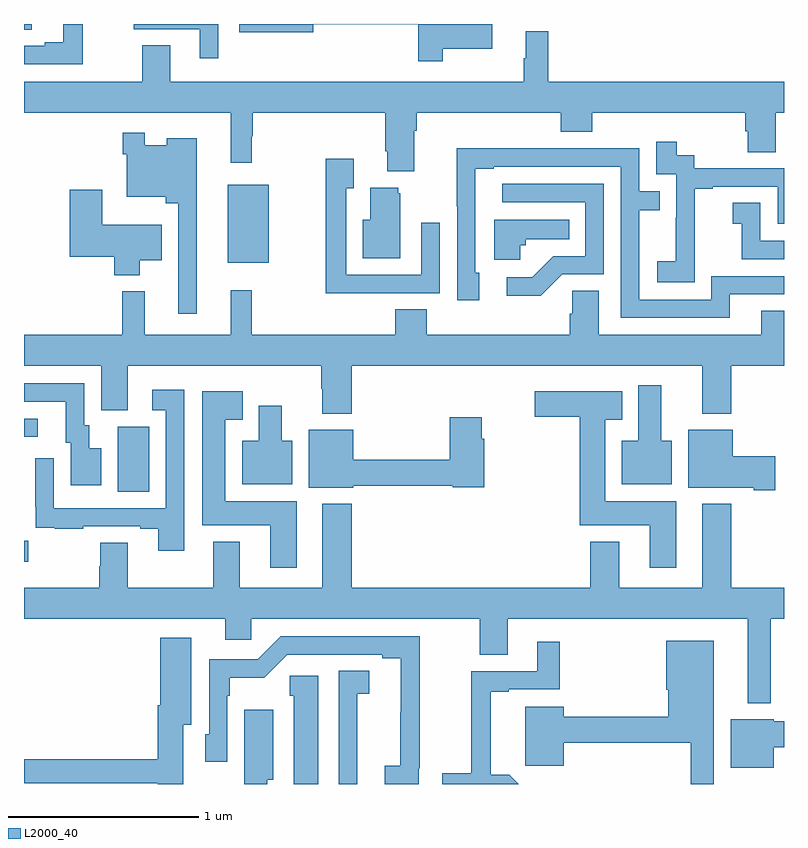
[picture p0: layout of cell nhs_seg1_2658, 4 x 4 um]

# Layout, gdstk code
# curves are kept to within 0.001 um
import gdstk
lib = gdstk.Library(unit=1e-6, precision=1e-09)
def R(c, l, rs):  # rectangles x0, y0, x1, y1
    for r in rs: c.add(gdstk.rectangle(r[:2], r[2:], *l))
def P(c, l, *ps):  # polygons
    for p in ps: c.add(gdstk.Polygon(p, *l))
L2000_40 = (2000, 40)

nhs_seg1_2658 = lib.new_cell('nhs_seg1_2658')
R(nhs_seg1_2658, L2000_40, [(255,549.368,255.022,549.478), (255.494,549.736,255.658,550.08), (255,550.026,255.073,550.122), (256.073,550.943,256.288,551.353), (255,552.169,255.04,552.199)])
P(nhs_seg1_2658, L2000_40, [(257.203,552.068),(257.464,552.068),(257.464,552.199),(256.134,552.199),(256.134,552.155),(256.522,552.155),(256.522,552.198),(257.074,552.198),(257.074,552.003),(257.203,552.003)],
  [(256.023,552.199),(255.577,552.199),(255.577,552.171),(255.926,552.171),(255.926,552.018),(256.023,552.018)],
  [(255.308,552.199),(255.206,552.199),(255.206,552.104),(255.11,552.104),(255.11,552.084),(255,552.084),(255,551.988),(255.308,551.988)],
  [(257.053,551.636),(257.066,551.636),(257.066,551.732),(257.825,551.732),(257.825,551.633),(257.99,551.633),(257.99,551.732),(258.797,551.732),(258.797,551.634),(258.809,551.634),(258.809,551.524),(258.957,551.524),(258.957,551.732),(259,551.732),(259,551.896),(257.759,551.896),(257.759,552.16),(257.642,552.16),(257.642,552.02),(257.631,552.02),(257.631,551.896),(255.769,551.896),(255.769,552.086),(255.622,552.086),(255.622,551.896),(255,551.896),(255,551.732),(256.088,551.732),(256.088,551.469),(256.198,551.469),(256.198,551.609),(256.205,551.609),(256.205,551.732),(256.901,551.732),(256.901,551.53),(256.913,551.53),(256.913,551.423),(257.053,551.423)],
  [(255.91,551.599),(255.752,551.599),(255.752,551.56),(255.636,551.56),(255.636,551.626),(255.52,551.626),(255.52,551.513),(255.54,551.513),(255.54,551.291),(255.745,551.291),(255.745,551.255),(255.813,551.255),(255.813,550.674),(255.91,550.674)],
  [(258.531,551.047),(258.529,551.047),(258.529,551.331),(258.625,551.331),(258.625,551.343),(258.966,551.343),(258.966,551.148),(259,551.148),(259,551.439),(258.528,551.439),(258.528,551.508),(258.436,551.508),(258.436,551.578),(258.327,551.578),(258.327,551.409),(258.432,551.409),(258.432,551.18),(258.431,551.18),(258.431,550.951),(258.333,550.951),(258.333,550.841),(258.531,550.841)],
  [(258.715,550.776),(259,550.776),(259,550.872),(258.618,550.872),(258.618,550.749),(258.237,550.749),(258.237,551.218),(258.347,551.218),(258.347,551.319),(258.237,551.319),(258.237,551.544),(257.741,551.544),(257.741,551.546),(257.278,551.546),(257.278,551.239),(257.28,551.239),(257.28,550.746),(257.395,550.746),(257.395,550.89),(257.376,550.89),(257.376,551.436),(257.473,551.436),(257.473,551.448),(258.141,551.448),(258.141,550.653),(258.715,550.653)],
  [(256.871,550.782),(257.187,550.782),(257.187,551.152),(257.091,551.152),(257.091,550.878),(256.695,550.878),(256.695,551.335),(256.735,551.335),(256.735,551.491),(256.587,551.491),(256.587,550.781),(256.871,550.781)],
  [(257.832,550.881),(258.051,550.881),(258.051,551.358),(257.517,551.358),(257.517,551.262),(257.955,551.262),(257.955,550.977),(257.786,550.977),(257.675,550.866),(257.541,550.866),(257.541,550.769),(257.719,550.769)],
  [(256.981,551.307),(256.97,551.307),(256.97,551.338),(256.823,551.338),(256.823,551.17),(256.784,551.17),(256.784,550.967),(256.981,550.967)],
  [(255.61,550.955),(255.724,550.955),(255.724,551.143),(255.412,551.143),(255.412,551.326),(255.242,551.326),(255.242,550.973),(255.476,550.973),(255.476,550.877),(255.61,550.877)],
  [(259,551.058),(258.876,551.058),(258.876,551.257),(258.729,551.257),(258.729,551.147),(258.778,551.147),(258.778,550.962),(259,550.962)],
  [(257.613,551.034),(257.64,551.034),(257.64,551.066),(257.87,551.066),(257.87,551.17),(257.474,551.17),(257.474,550.958),(257.613,550.958)],
  [(258.025,550.796),(257.886,550.796),(257.886,550.673),(257.873,550.673),(257.873,550.564),(257.12,550.564),(257.12,550.697),(256.955,550.697),(256.955,550.564),(256.198,550.564),(256.198,550.798),(256.088,550.798),(256.088,550.564),(255.635,550.564),(255.635,550.792),(255.517,550.792),(255.517,550.564),(255,550.564),(255,550.4),(255.407,550.4),(255.407,550.165),(255.547,550.165),(255.547,550.4),(256.564,550.4),(256.564,550.28),(256.571,550.28),(256.571,550.148),(256.724,550.148),(256.724,550.4),(258.569,550.4),(258.569,550.148),(258.722,550.148),(258.722,550.4),(259,550.4),(259,550.691),(258.881,550.691),(258.881,550.564),(258.025,550.564)],
  [(255.406,549.967),(255.343,549.967),(255.343,550.086),(255.318,550.086),(255.318,550.308),(255,550.308),(255,550.212),(255.221,550.212),(255.221,549.996),(255.245,549.996),(255.245,549.771),(255.406,549.771)],
  [(258.409,550.006),(258.355,550.006),(258.355,550.297),(258.233,550.297),(258.233,550.006),(258.146,550.006),(258.146,549.776),(258.409,549.776)],
  [(255.843,550.273),(255.675,550.273),(255.675,550.167),(255.747,550.167),(255.747,549.651),(255.156,549.651),(255.156,549.913),(255.06,549.913),(255.06,549.658),(255.061,549.658),(255.061,549.549),(255.163,549.549),(255.163,549.543),(255.311,549.543),(255.311,549.555),(255.611,549.555),(255.611,549.543),(255.707,549.543),(255.707,549.426),(255.843,549.426)],
  [(256.435,549.688),(256.06,549.688),(256.06,550.115),(256.15,550.115),(256.15,550.267),(255.938,550.267),(255.938,549.56),(256.295,549.56),(256.295,549.336),(256.435,549.336)],
  [(258.433,549.688),(258.058,549.688),(258.058,550.115),(258.148,550.115),(258.148,550.267),(257.688,550.267),(257.688,550.133),(257.924,550.133),(257.924,549.56),(258.293,549.56),(258.293,549.336),(258.433,549.336)],
  [(256.411,550.006),(256.357,550.006),(256.357,550.189),(256.235,550.189),(256.235,550.006),(256.148,550.006),(256.148,549.776),(256.411,549.776)],
  [(256.732,549.769),(257.256,549.769),(257.256,549.761),(257.423,549.761),(257.423,550.016),(257.41,550.016),(257.41,550.129),(257.24,550.129),(257.24,549.905),(256.732,549.905),(256.732,550.063),(256.499,550.063),(256.499,549.758),(256.732,549.758)],
  [(258.955,549.924),(258.73,549.924),(258.73,550.063),(258.497,550.063),(258.497,549.758),(258.842,549.758),(258.842,549.746),(258.955,549.746)],
  [(258.931,549.068),(259,549.068),(259,549.232),(258.722,549.232),(258.722,549.673),(258.569,549.673),(258.569,549.232),(258.133,549.232),(258.133,549.475),(257.981,549.475),(257.981,549.232),(256.724,549.232),(256.724,549.673),(256.571,549.673),(256.571,549.232),(256.135,549.232),(256.135,549.475),(255.995,549.475),(255.995,549.232),(255.547,549.232),(255.547,549.47),(255.4,549.47),(255.4,549.345),(255.395,549.345),(255.395,549.232),(255,549.232),(255,549.068),(256.058,549.068),(256.058,548.958),(256.197,548.958),(256.197,549.068),(257.398,549.068),(257.398,548.878),(257.545,548.878),(257.545,549.068),(258.809,549.068),(258.809,548.624),(258.931,548.624)],
  [(257.078,548.281),(257.084,548.281),(257.084,548.976),(256.35,548.976),(256.23,548.856),(255.975,548.856),(255.975,548.46),(255.954,548.46),(255.954,548.316),(256.071,548.316),(256.071,548.663),(256.084,548.663),(256.084,548.759),(256.265,548.759),(256.386,548.88),(256.886,548.88),(256.886,548.86),(256.982,548.86),(256.981,548.294),(256.899,548.294),(256.899,548.199),(257.078,548.199)],
  [(255.838,548.51),(255.88,548.51),(255.88,548.968),(255.716,548.968),(255.716,548.614),(255.704,548.614),(255.704,548.33),(255,548.33),(255,548.202),(255.704,548.202),(255.704,548.199),(255.838,548.199)],
  [(258.631,548.953),(258.38,548.953),(258.38,548.694),(258.392,548.694),(258.392,548.552),(257.842,548.552),(257.842,548.605),(257.639,548.605),(257.639,548.295),(257.842,548.295),(257.842,548.416),(258.51,548.416),(258.51,548.199),(258.631,548.199)],
  [(257.555,548.248),(257.456,548.248),(257.456,548.685),(257.551,548.685),(257.551,548.697),(257.819,548.697),(257.819,548.947),(257.702,548.947),(257.702,548.793),(257.353,548.793),(257.353,548.255),(257.202,548.255),(257.202,548.199),(257.604,548.199)],
  [(256.753,548.371),(256.755,548.371),(256.755,548.675),(256.816,548.675),(256.816,548.795),(256.656,548.795),(256.656,548.199),(256.753,548.199)],
  [(256.549,548.77),(256.399,548.77),(256.399,548.664),(256.421,548.664),(256.421,548.199),(256.549,548.199)],
  [(256.28,548.222),(256.312,548.222),(256.312,548.59),(256.16,548.59),(256.16,548.199),(256.28,548.199)],
  [(258.946,548.392),(259,548.392),(259,548.528),(258.946,548.528),(258.946,548.539),(258.719,548.539),(258.719,548.285),(258.946,548.285)])

lib.write_gds('nhs_seg1_2658.gds')
